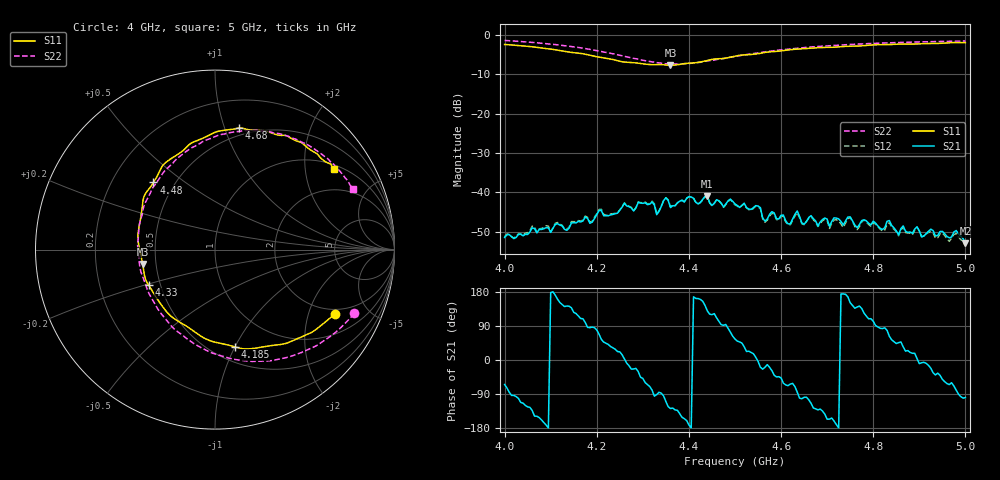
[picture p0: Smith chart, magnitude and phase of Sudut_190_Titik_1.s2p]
# Hz S RI R 50
! CMT, C1220, 16058040, 17.2.0/1
! Date: 15/08/2018 11:34:12
! Data: Format (Calibration Info)
! Freq  S11: Re/Im (F2)  S21: Re/Im (F2)  S12: Re/Im (F2)  S22: Re/Im (F2)
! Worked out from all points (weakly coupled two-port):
!   201 points, 4 GHz to 5 GHz, reference 50 ohm
!   highest |S21| = -40.96 dB at 4.44 GHz (marker M1); lowest = -52.9 dB at 5 GHz (marker M2)
!   lowest |S11| = -7.7 dB at 4.36 GHz (marker M3), VSWR 2.39, Z = 21.1 - j4.05 ohm
!   |S11| at or under -10 dB: nowhere
!   |S22| runs from -7.4 to -1.4 dB; largest |S21 - S12| = 0.00036
!   S11 on the Smith chart (normalised r, x): 4 GHz: 1.80, -3.01; 4.185 GHz: 0.64, -1.00; 4.33 GHz: 0.43, -0.21; 4.48 GHz: 0.38, +0.38; 4.68 GHz: 0.43, +1.12; 5 GHz: 1.16, +2.84
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4e9  0.6682 -0.3564  0.00113 -0.0024  0.00122 -0.00243  0.7747 -0.354
4.17e9  0.1633 -0.5533  -0.00139 0.00408  -0.00147 0.00419  0.2739 -0.621
4.185e9  0.1098 -0.542  0.00033 0.00402  0.000297 0.00418  0.2098 -0.623
4.26e9  -0.173 -0.4181  0.00722 0.000337  0.00732 0.00031  -0.1186 -0.5228
4.32e9  -0.3484 -0.2326  0.00136 -0.00737  0.00135 -0.00756  -0.3304 -0.3106
4.33e9  -0.3698 -0.1987  -0.00013 -0.00519  -0.000242 -0.00529  -0.3544 -0.2691
4.335e9  -0.38 -0.1815  0.000484 -0.00568  0.000382 -0.00576  -0.3672 -0.2456
4.35e9  -0.3964 -0.1224  -0.00285 -0.008  -0.00291 -0.008  -0.3947 -0.1718
4.36e9  -0.4029 -0.08  -0.00393 -0.00503  -0.00413 -0.00505  -0.4123 -0.1257
4.44e9  -0.4039 0.2486  -0.00571 0.0069  -0.00556 0.00689  -0.3887 0.2613
4.48e9  -0.3429 0.374  -0.000453 0.00705  -0.00025 0.00694  -0.3011 0.4103
4.5e9  -0.3051 0.4444  0.00405 0.00583  0.00395 0.00569  -0.246 0.4713
4.55e9  -0.1824 0.5482  0.00667 -0.000404  0.00646 -0.000539  -0.0986 0.583
4.565e9  -0.1488 0.5808  0.00406 -0.00142  0.00389 -0.00146  -0.0545 0.6084
4.58e9  -0.1144 0.6015  0.005 -0.00265  0.00472 -0.0026  -0.00954 0.6259
4.615e9  -0.0192 0.6443  0.00151 -0.00367  0.00143 -0.00358  0.0957 0.6539
4.67e9  0.113 0.6729  -0.00276 -0.00369  -0.00278 -0.00353  0.2483 0.6626
4.68e9  0.1324 0.6774  -0.00249 -0.0028  -0.00245 -0.00272  0.2722 0.6598
4.835e9  0.4455 0.609  0.00203 0.00387  0.00182 0.00368  0.5822 0.5402
4.855e9  0.4771 0.5981  0.002 0.00206  0.00194 0.00201  0.6121 0.5178
4.98e9  0.6462 0.4743  0.000612 -0.0032  0.000579 -0.00291  0.7502 0.3636
5e9  0.6611 0.4467  -0.000357 -0.00222  -0.000229 -0.00205  0.7681 0.3367
